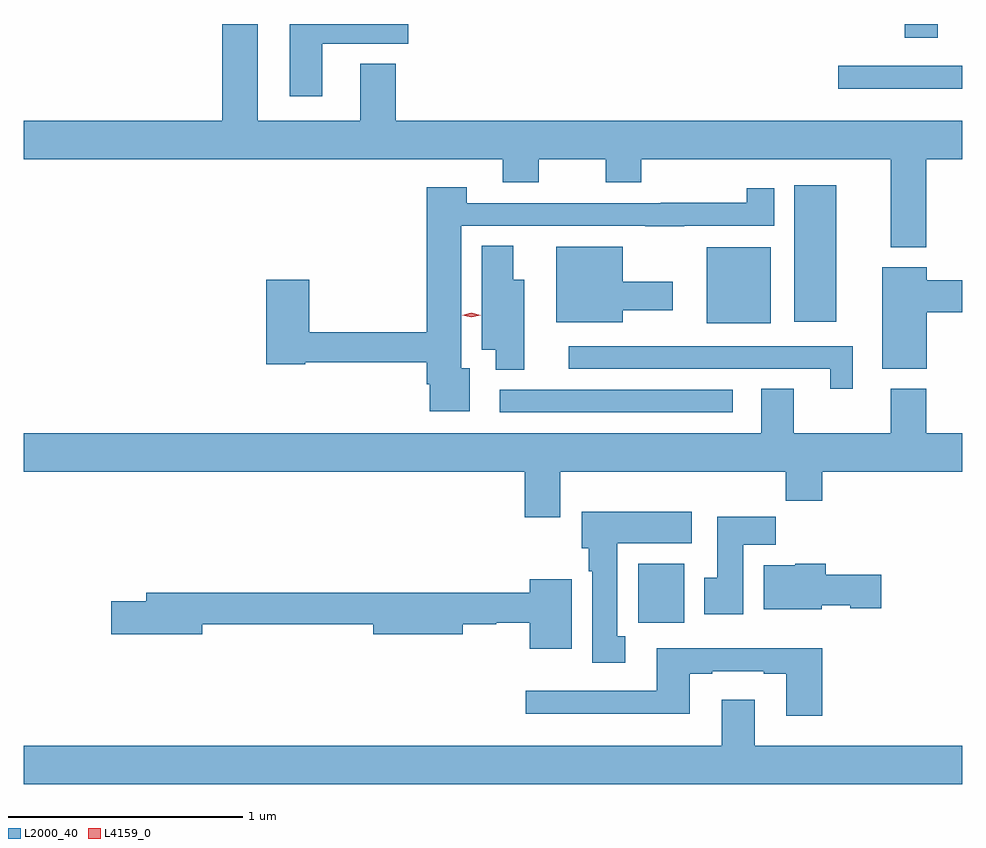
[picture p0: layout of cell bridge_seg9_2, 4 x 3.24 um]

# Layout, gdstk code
import gdstk
lib = gdstk.Library(unit=1e-6, precision=1e-09)
def R(c, l, rs):  # rectangles x0, y0, x1, y1
    for r in rs: c.add(gdstk.rectangle(r[:2], r[2:], *l))
def P(c, l, *ps):  # polygons
    for p in ps: c.add(gdstk.Polygon(p, *l))
L2000_40 = (2000, 40)
L4159_0 = (4159, 0)

bridge_seg9_2 = lib.new_cell('bridge_seg9_2')
R(bridge_seg9_2, L2000_40, [(1055.805,1239.732,1056.001,1239.982), (1055.214,1240.629,1056.208,1240.725), (1056.098,1241.009,1056.37,1241.332), (1056.47,1241.015,1056.649,1241.596), (1056.657,1242.008,1057.186,1242.105), (1056.941,1242.225,1057.081,1242.284)])
P(bridge_seg9_2, L2000_40, [(1057.034,1241.708),(1057.186,1241.708),(1057.186,1241.872),(1054.772,1241.872),(1054.772,1242.115),(1054.619,1242.115),(1054.619,1241.872),(1054.183,1241.872),(1054.183,1242.284),(1054.031,1242.284),(1054.031,1241.872),(1053.186,1241.872),(1053.186,1241.708),(1055.228,1241.708),(1055.228,1241.609),(1055.38,1241.609),(1055.38,1241.708),(1055.666,1241.708),(1055.666,1241.609),(1055.819,1241.609),(1055.819,1241.708),(1056.881,1241.708),(1056.881,1241.333),(1057.034,1241.333)],
  [(1054.459,1242.2),(1054.824,1242.2),(1054.824,1242.284),(1054.319,1242.284),(1054.319,1241.976),(1054.459,1241.976)],
  [(1055.086,1240.816),(1055.05,1240.816),(1055.05,1241.424),(1055.836,1241.424),(1055.836,1241.422),(1056.002,1241.422),(1056.002,1241.424),(1056.385,1241.424),(1056.385,1241.584),(1056.268,1241.584),(1056.268,1241.522),(1055.902,1241.522),(1055.902,1241.52),(1055.075,1241.52),(1055.075,1241.587),(1054.904,1241.587),(1054.904,1240.97),(1054.403,1240.97),(1054.403,1241.194),(1054.22,1241.194),(1054.22,1240.834),(1054.386,1240.834),(1054.386,1240.842),(1054.904,1240.842),(1054.904,1240.748),(1054.916,1240.748),(1054.916,1240.634),(1055.086,1240.634)],
  [(1055.32,1241.194),(1055.272,1241.194),(1055.272,1241.339),(1055.138,1241.339),(1055.138,1240.895),(1055.198,1240.895),(1055.198,1240.81),(1055.32,1240.81)],
  [(1055.74,1241.063),(1055.953,1241.063),(1055.953,1241.185),(1055.74,1241.185),(1055.74,1241.335),(1055.456,1241.335),(1055.456,1241.012),(1055.74,1241.012)],
  [(1057.036,1241.056),(1057.186,1241.056),(1057.186,1241.192),(1057.036,1241.192),(1057.036,1241.248),(1056.845,1241.248),(1056.845,1240.814),(1057.036,1240.814)],
  [(1056.72,1240.911),(1055.508,1240.911),(1055.508,1240.815),(1056.623,1240.815),(1056.623,1240.728),(1056.72,1240.728)],
  [(1055.473,1240.376),(1056.433,1240.376),(1056.433,1240.252),(1056.59,1240.252),(1056.59,1240.376),(1057.186,1240.376),(1057.186,1240.54),(1057.034,1240.54),(1057.034,1240.729),(1056.881,1240.729),(1056.881,1240.54),(1056.469,1240.54),(1056.469,1240.73),(1056.329,1240.73),(1056.329,1240.54),(1053.186,1240.54),(1053.186,1240.376),(1055.321,1240.376),(1055.321,1240.182),(1055.473,1240.182)],
  [(1055.749,1239.673),(1055.716,1239.673),(1055.716,1240.07),(1056.034,1240.07),(1056.034,1240.204),(1055.564,1240.204),(1055.564,1240.05),(1055.594,1240.05),(1055.594,1239.95),(1055.609,1239.95),(1055.609,1239.561),(1055.749,1239.561)],
  [(1056.253,1240.064),(1056.392,1240.064),(1056.392,1240.183),(1056.143,1240.183),(1056.143,1239.924),(1056.086,1239.924),(1056.086,1239.768),(1056.253,1239.768)],
  [(1056.588,1239.806),(1056.708,1239.806),(1056.708,1239.794),(1056.841,1239.794),(1056.841,1239.936),(1056.605,1239.936),(1056.605,1239.982),(1056.474,1239.982),(1056.474,1239.976),(1056.341,1239.976),(1056.341,1239.788),(1056.588,1239.788)],
  [(1055.521,1239.916),(1055.342,1239.916),(1055.342,1239.86),(1053.707,1239.86),(1053.707,1239.824),(1053.558,1239.824),(1053.558,1239.682),(1053.946,1239.682),(1053.946,1239.724),(1054.676,1239.724),(1054.676,1239.682),(1055.056,1239.682),(1055.056,1239.724),(1055.199,1239.724),(1055.199,1239.732),(1055.342,1239.732),(1055.342,1239.62),(1055.521,1239.62)],
  [(1056.59,1239.622),(1055.885,1239.622),(1055.885,1239.441),(1055.325,1239.441),(1055.325,1239.344),(1056.025,1239.344),(1056.025,1239.513),(1056.121,1239.513),(1056.121,1239.525),(1056.341,1239.525),(1056.341,1239.513),(1056.437,1239.513),(1056.437,1239.336),(1056.59,1239.336)],
  [(1057.186,1239.208),(1056.301,1239.208),(1056.301,1239.403),(1056.161,1239.403),(1056.161,1239.208),(1053.186,1239.208),(1053.186,1239.044),(1057.186,1239.044)])
P(bridge_seg9_2, L4159_0, [(1055.094,1241.033),(1055.054,1241.043),(1055.054,1241.043),(1055.054,1241.043),(1055.094,1241.053),(1055.134,1241.043),(1055.134,1241.043),(1055.134,1241.043)])

lib.write_gds('bridge_seg9_2.gds')
